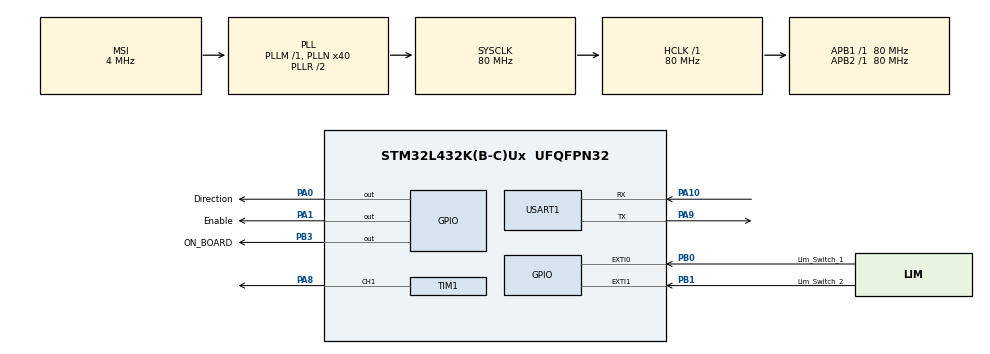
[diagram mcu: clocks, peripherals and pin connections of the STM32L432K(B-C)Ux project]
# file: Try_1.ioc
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Dma.Request0=USART1_RX
Dma.USART1_RX.0.Direction=DMA_PERIPH_TO_MEMORY
Dma.USART1_RX.0.Instance=DMA1_Channel5
Dma.USART1_RX.0.MemDataAlignment=DMA_MDATAALIGN_BYTE
Dma.USART1_RX.0.MemInc=DMA_MINC_ENABLE
Dma.USART1_RX.0.Mode=DMA_CIRCULAR
Dma.USART1_RX.0.PeriphDataAlignment=DMA_PDATAALIGN_BYTE
Dma.USART1_RX.0.PeriphInc=DMA_PINC_DISABLE
Dma.USART1_RX.0.Priority=DMA_PRIORITY_LOW
Mcu.Family=STM32L4
Mcu.Name=STM32L432K(B-C)Ux
Mcu.Package=UFQFPN32
NVIC.DMA1_Channel5_IRQn=true\:0\:0\:false\:false\:true\:false\:true\:true
NVIC.EXTI0_IRQn=true\:0\:0\:false\:false\:true\:true\:true\:true
NVIC.EXTI1_IRQn=true\:0\:0\:false\:false\:true\:true\:true\:true
NVIC.PriorityGroup=NVIC_PRIORITYGROUP_4
PA0.GPIO_Label=Direction
PA0.Signal=GPIO_Output
PA1.GPIO_Label=Enable
PA1.Signal=GPIO_Output
PA10.Mode=Asynchronous
PA10.Signal=USART1_RX
PA13\ (JTMS-SWDIO).Mode=Serial_Wire
PA13\ (JTMS-SWDIO).Signal=SYS_JTMS-SWDIO
PA14\ (JTCK-SWCLK).Mode=Serial_Wire
PA14\ (JTCK-SWCLK).Signal=SYS_JTCK-SWCLK
PA8.Signal=S_TIM1_CH1
PA9.Mode=Asynchronous
PA9.Signal=USART1_TX
PB0.GPIO_Label=Lim_Switch_1
PB0.GPIO_ModeDefaultEXTI=GPIO_MODE_IT_FALLING
PB0.GPIO_PuPd=GPIO_PULLUP
PB0.Signal=GPXTI0
PB1.GPIO_Label=Lim_Switch_2
PB1.GPIO_ModeDefaultEXTI=GPIO_MODE_IT_FALLING
PB1.GPIO_PuPd=GPIO_PULLUP
PB1.Signal=GPXTI1
PB3\ (JTDO-TRACESWO).GPIO_Label=ON_BOARD
PB3\ (JTDO-TRACESWO).Signal=GPIO_Output
ProjectManager.HeapSize=0x200
ProjectManager.StackSize=0x400
ProjectManager.TargetToolchain=MDK-ARM V5.32
RCC.AHBFreq_Value=80000000
RCC.APB1Freq_Value=80000000
RCC.APB1TimFreq_Value=80000000
RCC.APB2Freq_Value=80000000
RCC.APB2TimFreq_Value=80000000
RCC.CortexFreq_Value=80000000
RCC.HCLKFreq_Value=80000000
RCC.HSE_VALUE=8000000
RCC.HSI48_VALUE=48000000
RCC.HSI_VALUE=16000000
RCC.LSE_VALUE=32768
RCC.MSI_VALUE=4000000
RCC.PLLN=40
RCC.SYSCLKFreq_VALUE=80000000
RCC.SYSCLKSource=RCC_SYSCLKSOURCE_PLLCLK
RCC.VCOOutputFreq_Value=160000000
SH.S_TIM1_CH1.0=TIM1_CH1,PWM Generation1 CH1
TIM1.Channel-PWM\ Generation1\ CH1=TIM_CHANNEL_1
TIM1.Period=1000-1
TIM1.Prescaler=80-1
USART1.VirtualMode-Asynchronous=VM_ASYNC
VP_TIM1_VS_ClockSourceINT.Mode=Internal
board=custom

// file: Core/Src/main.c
/* USER CODE BEGIN Header */
/**
  ******************************************************************************
  * @file           : main.c
  * @brief          : Main program body
  ******************************************************************************
  * @attention
  *
  * Copyright (c) 2024 STMicroelectronics.
  * All rights reserved.
  *
  * This software is licensed under terms that can be found in the LICENSE file
  * in the root directory of this software component.
  * If no LICENSE file comes with this software, it is provided AS-IS.
  ******************************************************************************
  */
/* USER CODE END Header */
#include "main.h"

/* USER CODE BEGIN Includes */
#include "stm32l4xx.h"

/* USER CODE END Includes */

/* USER CODE BEGIN PD */
#define Pulse_PIN GPIO_PIN_8
#define DIR_PIN GPIO_PIN_0
#define Enable_PIN GPIO_PIN_1
#define STEP_GPIO_PORT GPIOA

#define SW1_PIN GPIO_PIN_0
#define SW2_PIN GPIO_PIN_1
#define Switch_GPIO_PORT GPIOB
#define BUFFER_SIZE 9

//#define STEPS_PER_REV 400
//#define MICROSTEPS 16
//#define GEAR_RATIO 1

 uint8_t rx_buffer [BUFFER_SIZE];
 uint16_t VP_Address;
 int state = 0;

/* USER CODE END PD */

TIM_HandleTypeDef htim1;

UART_HandleTypeDef huart1;
DMA_HandleTypeDef hdma_usart1_rx;

/* USER CODE BEGIN PV */
volatile uint8_t limit_switch_activated = 0;
int stepper_speed=500;

/* USER CODE END PV */

void SystemClock_Config(void);
static void MX_GPIO_Init(void);
static void MX_DMA_Init(void);
static void MX_TIM1_Init(void);
static void MX_USART1_UART_Init(void);
/* USER CODE BEGIN PFP */
void stepper_move_angle(float angle, uint8_t direction);
void adjust_stepper_speed(uint16_t speed);
void start(void);

/* USER CODE END PFP */

int main(void)
{

  /* MCU Configuration--------------------------------------------------------*/

  /* Reset of all peripherals, Initializes the Flash interface and the Systick. */
  HAL_Init();

  /* Configure the system clock */
  SystemClock_Config();

  /* Initialize all configured peripherals */
  MX_GPIO_Init();
  MX_DMA_Init();
  MX_TIM1_Init();
  MX_USART1_UART_Init();
  /* USER CODE BEGIN 2 */
	HAL_Delay(500);
	HAL_UART_Receive_DMA(&huart1, rx_buffer, BUFFER_SIZE);

  TIM1->CCR1 = 0.2*stepper_speed;
	adjust_stepper_speed(stepper_speed);
 //HAL_TIM_PWM_Start(&htim1, TIM_CHANNEL_1);

  /* Example movement */
//  stepper_move_angle(90.0, 0);
  //HAL_Delay(50000);

//  stepper_move_angle(90.0, 1);
//  //HAL_Delay(50000);

//  HAL_TIM_PWM_Stop(&htim1, TIM_CHANNEL_1);

  /* USER CODE END 2 */

  /* Infinite loop */
  while (1)
  {

  }
}

void SystemClock_Config(void)
{
  RCC_OscInitTypeDef RCC_OscInitStruct = {0};
  RCC_ClkInitTypeDef RCC_ClkInitStruct = {0};

  /** Configure the main internal regulator output voltage
  */
  if (HAL_PWREx_ControlVoltageScaling(PWR_REGULATOR_VOLTAGE_SCALE1) != HAL_OK)
  {
    Error_Handler();
  }

  /** Initializes the RCC Oscillators according to the specified parameters
  * in the RCC_OscInitTypeDef structure.
  */
  RCC_OscInitStruct.OscillatorType = RCC_OSCILLATORTYPE_MSI;
  RCC_OscInitStruct.MSIState = RCC_MSI_ON;
  RCC_OscInitStruct.MSICalibrationValue = 0;
  RCC_OscInitStruct.MSIClockRange = RCC_MSIRANGE_6;
  RCC_OscInitStruct.PLL.PLLState = RCC_PLL_ON;
  RCC_OscInitStruct.PLL.PLLSource = RCC_PLLSOURCE_MSI;
  RCC_OscInitStruct.PLL.PLLM = 1;
  RCC_OscInitStruct.PLL.PLLN = 40;
  RCC_OscInitStruct.PLL.PLLP = RCC_PLLP_DIV7;
  RCC_OscInitStruct.PLL.PLLQ = RCC_PLLQ_DIV2;
  RCC_OscInitStruct.PLL.PLLR = RCC_PLLR_DIV2;
  if (HAL_RCC_OscConfig(&RCC_OscInitStruct) != HAL_OK)
  {
    Error_Handler();
  }

  /** Initializes the CPU, AHB and APB buses clocks
  */
  RCC_ClkInitStruct.ClockType = RCC_CLOCKTYPE_HCLK|RCC_CLOCKTYPE_SYSCLK
                              |RCC_CLOCKTYPE_PCLK1|RCC_CLOCKTYPE_PCLK2;
  RCC_ClkInitStruct.SYSCLKSource = RCC_SYSCLKSOURCE_PLLCLK;
  RCC_ClkInitStruct.AHBCLKDivider = RCC_SYSCLK_DIV1;
  RCC_ClkInitStruct.APB1CLKDivider = RCC_HCLK_DIV1;
  RCC_ClkInitStruct.APB2CLKDivider = RCC_HCLK_DIV1;

  if (HAL_RCC_ClockConfig(&RCC_ClkInitStruct, FLASH_LATENCY_4) != HAL_OK)
  {
    Error_Handler();
  }
}

static void MX_TIM1_Init(void)
{

  TIM_ClockConfigTypeDef sClockSourceConfig = {0};
  TIM_MasterConfigTypeDef sMasterConfig = {0};
  TIM_OC_InitTypeDef sConfigOC = {0};
  TIM_BreakDeadTimeConfigTypeDef sBreakDeadTimeConfig = {0};

  htim1.Instance = TIM1;
  htim1.Init.Prescaler = 80-1;
  htim1.Init.CounterMode = TIM_COUNTERMODE_UP;
  htim1.Init.Period = 1000-1;
  htim1.Init.ClockDivision = TIM_CLOCKDIVISION_DIV1;
  htim1.Init.RepetitionCounter = 0;
  htim1.Init.AutoReloadPreload = TIM_AUTORELOAD_PRELOAD_DISABLE;
  if (HAL_TIM_Base_Init(&htim1) != HAL_OK)
  {
    Error_Handler();
  }
  sClockSourceConfig.ClockSource = TIM_CLOCKSOURCE_INTERNAL;
  if (HAL_TIM_ConfigClockSource(&htim1, &sClockSourceConfig) != HAL_OK)
  {
    Error_Handler();
  }
  if (HAL_TIM_PWM_Init(&htim1) != HAL_OK)
  {
    Error_Handler();
  }
  sMasterConfig.MasterOutputTrigger = TIM_TRGO_RESET;
  sMasterConfig.MasterOutputTrigger2 = TIM_TRGO2_RESET;
  sMasterConfig.MasterSlaveMode = TIM_MASTERSLAVEMODE_DISABLE;
  if (HAL_TIMEx_MasterConfigSynchronization(&htim1, &sMasterConfig) != HAL_OK)
  {
    Error_Handler();
  }
  sConfigOC.OCMode = TIM_OCMODE_PWM1;
  sConfigOC.Pulse = 0;
  sConfigOC.OCPolarity = TIM_OCPOLARITY_HIGH;
  sConfigOC.OCNPolarity = TIM_OCNPOLARITY_HIGH;
  sConfigOC.OCFastMode = TIM_OCFAST_DISABLE;
  sConfigOC.OCIdleState = TIM_OCIDLESTATE_RESET;
  sConfigOC.OCNIdleState = TIM_OCNIDLESTATE_RESET;
  if (HAL_TIM_PWM_ConfigChannel(&htim1, &sConfigOC, TIM_CHANNEL_1) != HAL_OK)
  {
    Error_Handler();
  }
  sBreakDeadTimeConfig.OffStateRunMode = TIM_OSSR_DISABLE;
  sBreakDeadTimeConfig.OffStateIDLEMode = TIM_OSSI_DISABLE;
  sBreakDeadTimeConfig.LockLevel = TIM_LOCKLEVEL_OFF;
  sBreakDeadTimeConfig.DeadTime = 0;
  sBreakDeadTimeConfig.BreakState = TIM_BREAK_DISABLE;
  sBreakDeadTimeConfig.BreakPolarity = TIM_BREAKPOLARITY_HIGH;
  sBreakDeadTimeConfig.BreakFilter = 0;
  sBreakDeadTimeConfig.Break2State = TIM_BREAK2_DISABLE;
  sBreakDeadTimeConfig.Break2Polarity = TIM_BREAK2POLARITY_HIGH;
  sBreakDeadTimeConfig.Break2Filter = 0;
  sBreakDeadTimeConfig.AutomaticOutput = TIM_AUTOMATICOUTPUT_DISABLE;
  if (HAL_TIMEx_ConfigBreakDeadTime(&htim1, &sBreakDeadTimeConfig) != HAL_OK)
  {
    Error_Handler();
  }
  HAL_TIM_MspPostInit(&htim1);

}

static void MX_USART1_UART_Init(void)
{

  huart1.Instance = USART1;
  huart1.Init.BaudRate = 115200;
  huart1.Init.WordLength = UART_WORDLENGTH_8B;
  huart1.Init.StopBits = UART_STOPBITS_1;
  huart1.Init.Parity = UART_PARITY_NONE;
  huart1.Init.Mode = UART_MODE_TX_RX;
  huart1.Init.HwFlowCtl = UART_HWCONTROL_NONE;
  huart1.Init.OverSampling = UART_OVERSAMPLING_16;
  huart1.Init.OneBitSampling = UART_ONE_BIT_SAMPLE_DISABLE;
  huart1.AdvancedInit.AdvFeatureInit = UART_ADVFEATURE_NO_INIT;
  if (HAL_UART_Init(&huart1) != HAL_OK)
  {
    Error_Handler();
  }

}

static void MX_DMA_Init(void)
{

  /* DMA controller clock enable */
  __HAL_RCC_DMA1_CLK_ENABLE();

  /* DMA interrupt init */
  /* DMA1_Channel5_IRQn interrupt configuration */
  HAL_NVIC_SetPriority(DMA1_Channel5_IRQn, 0, 0);
  HAL_NVIC_EnableIRQ(DMA1_Channel5_IRQn);

}

static void MX_GPIO_Init(void)
{
  GPIO_InitTypeDef GPIO_InitStruct = {0};

  /* GPIO Ports Clock Enable */
  __HAL_RCC_GPIOA_CLK_ENABLE();
  __HAL_RCC_GPIOB_CLK_ENABLE();

  /*Configure GPIO pin Output Level */
  HAL_GPIO_WritePin(GPIOA, Direction_Pin|Enable_Pin, GPIO_PIN_RESET);

  /*Configure GPIO pin Output Level */
  HAL_GPIO_WritePin(ON_BOARD_GPIO_Port, ON_BOARD_Pin, GPIO_PIN_RESET);

  /*Configure GPIO pins : Direction_Pin Enable_Pin */
  GPIO_InitStruct.Pin = Direction_Pin|Enable_Pin;
  GPIO_InitStruct.Mode = GPIO_MODE_OUTPUT_PP;
  GPIO_InitStruct.Pull = GPIO_NOPULL;
  GPIO_InitStruct.Speed = GPIO_SPEED_FREQ_LOW;
  HAL_GPIO_Init(GPIOA, &GPIO_InitStruct);

  /*Configure GPIO pins : Lim_Switch_1_Pin Lim_Switch_2_Pin */
  GPIO_InitStruct.Pin = Lim_Switch_1_Pin|Lim_Switch_2_Pin;
  GPIO_InitStruct.Mode = GPIO_MODE_IT_FALLING;
  GPIO_InitStruct.Pull = GPIO_PULLUP;
  HAL_GPIO_Init(GPIOB, &GPIO_InitStruct);

  /*Configure GPIO pin : ON_BOARD_Pin */
  GPIO_InitStruct.Pin = ON_BOARD_Pin;
  GPIO_InitStruct.Mode = GPIO_MODE_OUTPUT_PP;
  GPIO_InitStruct.Pull = GPIO_NOPULL;
  GPIO_InitStruct.Speed = GPIO_SPEED_FREQ_LOW;
  HAL_GPIO_Init(ON_BOARD_GPIO_Port, &GPIO_InitStruct);

  /* EXTI interrupt init*/
  HAL_NVIC_SetPriority(EXTI0_IRQn, 0, 0);
  HAL_NVIC_EnableIRQ(EXTI0_IRQn);

  HAL_NVIC_SetPriority(EXTI1_IRQn, 0, 0);
  HAL_NVIC_EnableIRQ(EXTI1_IRQn);

}

/* USER CODE BEGIN 4 */

void adjust_stepper_speed(uint16_t speed)
{

    TIM1->ARR=speed;  // Adjust the period based on the speed value
}

void HAL_UART_RxCpltCallback(UART_HandleTypeDef *huart)
{
    if (huart == &huart1)
    {

        VP_Address = (rx_buffer[4] << 8) | rx_buffer[5];

        if (VP_Address == 0x1000)
        {
            switch(rx_buffer[8])
            {
                case 0:
									HAL_TIM_PWM_Stop(&htim1, TIM_CHANNEL_1);
									TIM1->CCR1=stepper_speed*0.2;
									HAL_TIM_PWM_Start(&htim1, TIM_CHANNEL_1);
									HAL_GPIO_WritePin(STEP_GPIO_PORT, DIR_PIN, GPIO_PIN_SET);
									break;
                case 1:
									HAL_TIM_PWM_Stop(&htim1, TIM_CHANNEL_1);
									TIM1->CCR1=stepper_speed*0.2;
									HAL_TIM_PWM_Start(&htim1, TIM_CHANNEL_1);
                  HAL_GPIO_WritePin(STEP_GPIO_PORT, DIR_PIN, GPIO_PIN_RESET);
                   break;
            }
        }
        else if (VP_Address == 0x2000)
        {
            switch(rx_buffer[8])
            {
                case 0:
                stepper_speed = 62500;
								//adjust_stepper_speed(stepper_speed);
								//stepper_speed = 500;
								adjust_stepper_speed(stepper_speed);
                break;
                case 1:
                stepper_speed = 50000;
								//stepper_speed = 1500;
								adjust_stepper_speed(stepper_speed);
                   break;
                case 2:
                stepper_speed = 41666;
								//stepper_speed = 5000;
								adjust_stepper_speed(stepper_speed);
                  break;
            }
        }

    }
}

void HAL_GPIO_EXTI_Callback(uint16_t GPIO_Pin)
	{
    if (GPIO_Pin == SW1_PIN || GPIO_Pin == SW2_PIN) {
        HAL_TIM_PWM_Stop(&htim1,TIM_CHANNEL_1);
    }
	}

/* USER CODE END 4 */

void Error_Handler(void)
{
  __disable_irq();
  while (1)
  {
  }
}
